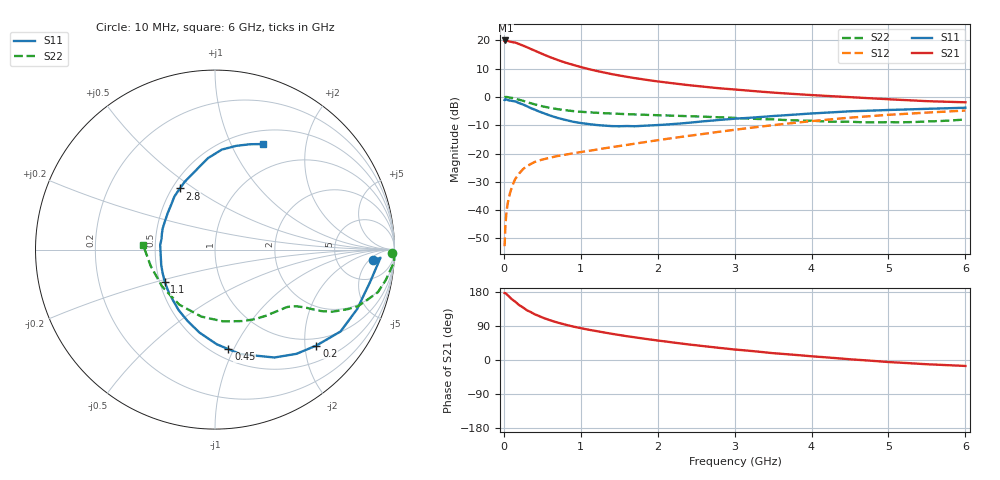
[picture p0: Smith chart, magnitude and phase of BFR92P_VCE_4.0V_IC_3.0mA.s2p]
! Infineon Technologies  Discrete & RF Semiconductors
! BFR92P
! VCE =  4.0 V,  IC =  3.0 mA
! Common Emitter S-Parameters:  Apr 2014
# GHz  S  MA  R  50
!  f  S11  S21  S12  S22
! GHz  MAG  ANG  MAG  ANG  MAG  ANG  MAG  ANG
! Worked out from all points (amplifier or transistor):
!   77 points, 10 MHz to 6 GHz, reference 50 ohm
!   highest |S21| = 20.0 dB at 20 MHz (marker M1)
!   |S21| within 3 dB of that: start of sweep to 349.9 MHz
!   unconditionally stable (mu >= 1): 1.227 GHz to 2.88 GHz
!   at 130 MHz: K = 0.16, MSG = 24.7 dB, |S12| = -30.1 dB
!   at 2.2 GHz: K = 1.07, MAG = 8.1 dB, |S12| = -14.5 dB
!   at 6 GHz: K = 0.88, MSG = 1.5 dB, |S12| = -4.8 dB
!   S11 on the Smith chart (normalised r, x): 10 MHz: 12, -7; 200 MHz: 0.83, -2.25; 450 MHz: 0.59, -0.95; 1.1 GHz: 0.53, -0.22; 2.8 GHz: 0.55, +0.44; 6 GHz: 0.66, +1.33
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0.01  0.8831 -3.9  9.702 176.7  0.0023 92.1  0.9843 -1.2
0.02  0.9233 -2.8  9.999 176.3  0.0053 83.9  1 -2.1
0.05  0.8838 -11.5  9.813 171.0  0.0131 84.0  0.9928 -5.1
0.1  0.8586 -22.7  9.413 161.1  0.0243 76.7  0.9664 -10.1
0.15  0.8351 -33.1  9.165 153.6  0.0358 73.1  0.9378 -14.7
0.2  0.7777 -43.4  8.621 144.7  0.0444 68.0  0.8929 -18.3
0.3  0.686 -61.2  7.594 131.3  0.0598 59.8  0.8116 -24.1
0.4  0.5986 -76.4  6.623 120.7  0.0708 55.6  0.7411 -27.8
0.45  0.5599 -82.3  6.18 116.7  0.0745 54.1  0.7132 -28.9
0.5  0.5278 -88.9  5.77 112.2  0.0782 52.8  0.6856 -30.0
0.6  0.4704 -100.6  5.073 104.9  0.0843 51.4  0.6422 -31.3
0.7  0.426 -111.0  4.514 98.7  0.0905 50.8  0.6089 -32.3
0.9  0.3651 -130.3  3.703 88.3  0.1009 50.5  0.5633 -34.3
1.1  0.3326 -147.2  3.125 80.0  0.1112 51.7  0.5371 -36.0
1.5  0.3037 -177.8  2.402 66.0  0.1357 53.7  0.5039 -40.6
1.8  0.3088 163.4  2.062 56.9  0.1565 55.0  0.4867 -44.9
2.1  0.3246 147.2  1.815 48.9  0.1801 55.5  0.472 -49.7
2.8  0.393 119.9  1.428 32.0  0.2428 54.1  0.4376 -63.6
3.1  0.421 111.7  1.323 26.0  0.2736 51.8  0.4201 -71.6
4.1  0.5202 92.5  1.063 8.3  0.3852 42.5  0.3738 -105.6
5.1  0.5944 77.2  0.898 -6.5  0.4927 28.8  0.3576 -149.2
6  0.6463 65.5  0.806 -15.7  0.5761 15.8  0.4006 176.6
